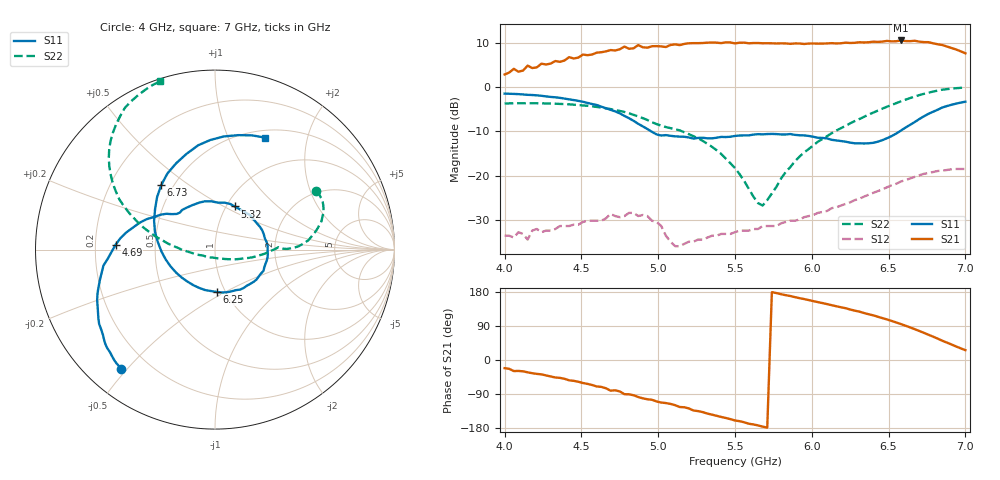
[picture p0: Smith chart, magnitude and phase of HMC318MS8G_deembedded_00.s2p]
!Hittite Microwave Corporation
!12 Elizabeth Drive
!Chelmsford, MA 01824
!Tel: 978-250-3343
!Fax: 978-250-3373
!Device: HMC318MS8G, 5-6 GHz LNA with AGC in 8-lead Grounded Base Surface Mount Plastic Package
!Misc: Room Temp Vdd = +3V Idd = 5.7 mA. Vctl = 0.0 V , DEEMBEDDED TO THE PINS OF THE DEVICE
# MHZ S MA R 50
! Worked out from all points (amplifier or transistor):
!   101 points, 4 GHz to 7 GHz, reference 50 ohm
!   highest |S21| = 10.5 dB at 6.58 GHz (marker M1)
!   |S21| within 3 dB of that: 4.582 GHz to end of sweep
!   unconditionally stable (mu >= 1): start of sweep to 6.535 GHz
!   at 4.48 GHz: K = 3.01, MAG = 11.2 dB, |S12| = -31.1 dB
!   at 5.5 GHz: K = 6.41, MAG = 10.3 dB, |S12| = -32.8 dB
!   at 7 GHz: K = -0.21, MSG = 13.1 dB, |S12| = -18.5 dB
!   S11 on the Smith chart (normalised r, x): 4 GHz: 0.10, -0.48; 4.69 GHz: 0.29, +0.02; 5.32 GHz: 1.09, +0.56; 6.25 GHz: 0.91, -0.45; 6.73 GHz: 0.43, +0.40; 7 GHz: 0.59, +1.38
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4000  0.845 -128.3  1.387 -21.6  0.021 94.3  0.653 30.1
4240  0.798 -140.7  1.839 -37.9  0.023 92.4  0.656 23.9
4510  0.683 -162.0  2.329 -60.8  0.03 72.0  0.621 16.2
4630  0.601 -175.0  2.475 -71.0  0.031 62.1  0.587 12.0
4690  0.554 177.1  2.62 -80.9  0.037 56.8  0.565 9.8
4750  0.505 169.3  2.673 -83.0  0.034 50.3  0.538 7.3
4780  0.473 164.9  2.868 -90.2  0.035 46.9  0.524 5.8
4810  0.445 160.3  2.709 -90.6  0.038 37.4  0.506 4.7
4870  0.385 151.8  2.981 -97.7  0.035 28.6  0.466 2.3
5020  0.284 133.5  2.88 -112.3  0.027 -4.2  0.367 1.3
5200  0.27 94.4  3.125 -127.9  0.018 12.9  0.294 -2.9
5320  0.264 65.5  3.174 -141.3  0.02 10.9  0.229 -9.7
5500  0.281 26.7  3.112 -159.6  0.023 -5.5  0.122 -26.4
5680  0.293 -0.2  3.126 -175.9  0.027 -18.8  0.046 -103.2
6010  0.275 -43.5  3.109 155.4  0.036 -45.0  0.22 176.1
6250  0.236 -87.9  3.15 133.2  0.05 -64.4  0.39 164.3
6400  0.235 -130.4  3.257 117.8  0.064 -77.7  0.515 157.2
6520  0.28 -168.6  3.282 103.1  0.078 -90.5  0.629 150.4
6580  0.323 171.9  3.362 94.9  0.086 -97.3  0.69 146.2
6730  0.468 129.8  3.22 71.6  0.105 -117.7  0.84 133.9
6850  0.589 99.1  2.988 50.8  0.114 -135.4  0.936 122.4
7000  0.684 65.8  2.408 25.9  0.119 -156.7  0.986 108.1
